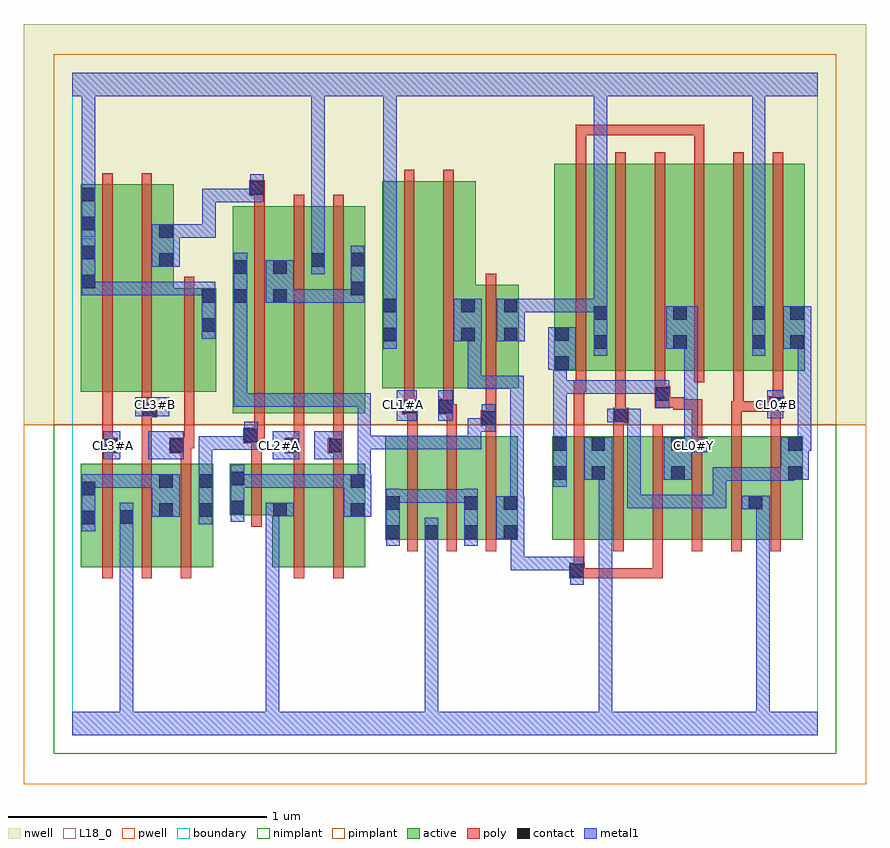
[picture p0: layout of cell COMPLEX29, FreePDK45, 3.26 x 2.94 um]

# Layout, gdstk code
import gdstk
lib = gdstk.Library(unit=1e-6, precision=1e-09)
def R(c, l, rs):  # rectangles x0, y0, x1, y1
    for r in rs: c.add(gdstk.rectangle(r[:2], r[2:], *l))
def A(c, l, x, y, w, h, nx, ny, dx, dy):  # array of equal rectangles
    R(c, l, [(x+i*dx, y+j*dy, x+i*dx+w, y+j*dy+h) for i in range(nx) for j in range(ny)])
active = (1, 0)
pwell = (2, 0)
nwell = (3, 0)
nimplant = (4, 0)
pimplant = (5, 0)
poly = (9, 0)
contact = (10, 0)
metal1 = (11, 0)
L18_0 = (18, 0)
boundary = (235, 0)

complex29 = lib.new_cell('COMPLEX29')
A(complex29, active, 1.358, 0.756, 0.06, 0.4, 3, 1, 0.152, 0)
R(complex29, active, [(0.032,0.65,0.24,1.05), (0.18,0.65,0.24,1.05), (0.18,0.65,0.392,1.05), (0.332,0.65,0.544,1.05), (0.772,0.65,0.952,1.05), (0.952,0.65,1.132,1.05), (1.072,0.65,1.132,1.05), (0.032,0.756,0.092,1.05), (0.332,0.756,0.392,1.05), (0.484,0.756,0.544,1.05), (1.21,0.756,1.27,1.156), (1.21,0.756,1.418,1.156), (1.358,0.756,1.57,1.156), (1.51,0.756,1.722,1.156), (1.854,0.756,1.914,1.156), (1.854,0.756,2.062,1.156), (2.002,0.756,2.062,1.156), (2.002,0.756,2.186,1.156), (2.186,0.756,2.37,1.156), (2.31,0.756,2.37,1.156), (2.31,0.756,2.49,1.156), (2.49,0.756,2.67,1.156), (2.61,0.756,2.822,1.156), (2.61,0.756,2.67,0.93), (2.762,0.756,2.822,1.156), (0.772,0.842,0.832,0.902), (0.608,0.85,0.832,1.05), (0.608,0.85,0.668,1.05), (0.62,1.244,0.68,2.044), (0.62,1.244,0.832,2.044), (0.772,1.244,0.98,2.044), (0.772,1.244,0.832,2.044), (0.92,1.244,0.98,2.044), (0.92,1.244,1.132,2.044), (1.072,1.244,1.132,2.044), (0.032,1.328,0.092,2.128), (0.032,1.328,0.212,2.128), (0.212,1.328,0.392,2.128), (0.332,1.328,0.556,1.728), (0.496,1.328,0.556,1.728), (1.198,1.34,1.378,2.14), (1.198,1.34,1.258,2.044), (1.378,1.34,1.558,2.14), (1.498,1.34,1.724,1.74), (1.498,1.34,1.558,2.044), (1.664,1.34,1.724,1.74), (1.862,1.408,2.07,2.208), (1.862,1.408,1.922,2.208), (2.01,1.408,2.07,2.208), (2.01,1.408,2.194,2.208), (2.194,1.408,2.378,2.208), (2.318,1.408,2.378,2.044), (2.318,1.408,2.498,2.208), (2.498,1.408,2.682,2.208), (2.622,1.408,2.83,2.208), (2.622,1.408,2.682,2.208), (2.77,1.408,2.83,2.044), (0.332,1.572,0.392,2.128)])
R(complex29, pwell, [(-0.188,-0.188,3.068,1.2)])
R(complex29, nwell, [(-0.188,1.2,3.068,2.748)])
R(complex29, nimplant, [(-0.072,-0.072,2.952,1.2)])
R(complex29, pimplant, [(-0.072,1.2,2.952,2.632)])
A(complex29, poly, 0.116, 0.606, 0.04, 0.488, 3, 1, 0.152, 0)
A(complex29, poly, 1.294, 0.712, 0.04, 0.488, 3, 1, 0.152, 0)
A(complex29, poly, 1.938, 0.712, 0.04, 0.488, 6, 1, 0.152, 0)
A(complex29, poly, 0.704, 1.2, 0.04, 0.888, 3, 1, 0.152, 0)
A(complex29, poly, 1.946, 1.364, 0.04, 0.888, 6, 1, 0.152, 0)
R(complex29, poly, [(0.856,0.606,0.896,1.094), (1.008,0.606,1.048,1.094), (1.92,0.606,1.98,0.666), (1.94,0.606,1.98,0.646), (1.94,0.606,1.98,0.646), (1.94,0.606,2.096,0.646), (2.056,0.606,2.096,0.646), (2.056,0.606,2.096,0.646), (2.056,0.606,2.096,0.646), (2.056,0.606,2.282,0.646), (2.242,0.606,2.282,0.646), (2.242,0.606,2.282,0.752), (1.938,0.626,1.978,0.752), (0.692,0.806,0.732,1.094), (0.116,1.054,0.156,1.13), (0.268,1.054,0.308,1.268), (0.42,1.054,0.46,1.13), (0.692,1.054,0.732,1.168), (0.856,1.054,0.896,1.13), (1.008,1.054,1.048,1.13), (0.116,1.09,0.156,1.13), (0.116,1.09,0.156,1.13), (0.116,1.09,0.176,1.15), (0.374,1.09,0.46,1.15), (0.82,1.09,0.896,1.15), (0.988,1.09,1.048,1.15), (0.116,1.11,0.156,1.324), (0.42,1.11,0.46,1.15), (0.42,1.11,0.472,1.15), (0.432,1.11,0.472,1.324), (0.856,1.11,0.896,1.15), (0.856,1.11,0.896,1.15), (0.856,1.11,0.896,1.24), (1.008,1.11,1.048,1.15), (1.008,1.11,1.048,1.15), (1.008,1.11,1.048,1.24), (0.66,1.128,0.732,1.188), (0.692,1.148,0.732,1.188), (0.692,1.148,0.744,1.188), (0.704,1.148,0.744,1.24), (1.294,1.16,1.334,1.28), (1.446,1.16,1.486,1.28), (1.598,1.16,1.638,1.236), (1.938,1.16,1.978,1.368), (2.09,1.16,2.13,1.246), (2.394,1.16,2.434,1.298), (2.546,1.16,2.586,1.29), (2.698,1.16,2.738,1.29), (1.578,1.196,1.638,1.256), (2.09,1.206,2.15,1.266), (1.598,1.216,1.638,1.256), (1.598,1.216,1.638,1.256), (1.598,1.216,1.638,1.336), (2.098,1.226,2.138,1.266), (2.098,1.226,2.138,1.266), (2.098,1.226,2.138,1.404), (0.268,1.228,0.308,1.268), (0.268,1.228,0.308,1.268), (0.268,1.228,0.328,1.288), (1.274,1.24,1.334,1.3), (1.294,1.24,1.334,1.28), (1.294,1.24,1.334,1.28), (1.414,1.24,1.474,1.3), (1.434,1.24,1.474,1.28), (1.434,1.24,1.486,1.28), (0.268,1.248,0.308,1.324), (2.546,1.25,2.594,1.29), (2.554,1.25,2.594,1.29), (2.554,1.25,2.594,1.29), (2.554,1.25,2.738,1.29), (2.554,1.25,2.594,1.404), (2.69,1.25,2.75,1.31), (2.698,1.25,2.738,1.29), (2.698,1.25,2.738,1.29), (2.698,1.25,2.738,1.29), (2.698,1.25,2.738,1.29), (2.322,1.258,2.434,1.298), (2.322,1.258,2.362,1.306), (2.394,1.258,2.434,1.298), (2.394,1.258,2.434,1.298), (2.394,1.258,2.434,1.298), (1.282,1.26,1.322,1.336), (1.434,1.26,1.474,1.336), (2.25,1.266,2.31,1.348), (2.27,1.266,2.362,1.306), (2.706,1.27,2.746,1.404), (0.116,1.284,0.156,2.172), (0.268,1.284,0.308,2.172), (0.432,1.284,0.472,1.772), (1.282,1.296,1.322,2.184), (1.434,1.296,1.474,2.184), (1.598,1.296,1.638,1.784), (2.25,1.308,2.29,1.404), (1.938,1.328,1.986,1.368), (1.946,1.328,1.986,1.368), (1.946,1.328,1.986,1.368), (1.946,1.328,1.986,1.404), (0.704,2.048,0.744,2.124), (0.684,2.084,0.744,2.144), (1.946,2.212,1.986,2.358), (2.402,2.212,2.442,2.358), (1.946,2.318,1.986,2.358), (1.946,2.318,1.986,2.358), (1.946,2.318,1.986,2.358), (1.946,2.318,2.096,2.358), (2.056,2.318,2.096,2.358), (2.056,2.318,2.202,2.358), (2.162,2.318,2.202,2.358), (2.162,2.318,2.202,2.358), (2.162,2.318,2.202,2.358), (2.162,2.318,2.442,2.358), (2.402,2.318,2.442,2.358), (2.402,2.318,2.442,2.358), (2.402,2.318,2.442,2.358)])
A(complex29, contact, 1.362, 0.76, 0.052, 0.052, 3, 1, 0.152, 0)
A(complex29, contact, 0.036, 1.728, 0.052, 0.052, 1, 4, 0, 0.112)
R(complex29, contact, [(1.924,0.61,1.976,0.662), (1.214,0.76,1.266,0.812), (0.036,0.816,0.088,0.868), (0.184,0.818,0.236,0.87), (0.336,0.844,0.388,0.896), (0.488,0.844,0.54,0.896), (1.076,0.844,1.128,0.896), (0.776,0.846,0.828,0.898), (0.612,0.854,0.664,0.906), (1.214,0.872,1.266,0.924), (1.514,0.872,1.566,0.924), (1.666,0.872,1.718,0.924), (2.614,0.874,2.666,0.926), (0.036,0.928,0.088,0.98), (0.336,0.956,0.388,1.008), (0.488,0.956,0.54,1.008), (1.076,0.956,1.128,1.008), (0.612,0.966,0.664,1.018), (1.858,0.988,1.91,1.04), (2.006,0.988,2.058,1.04), (2.314,0.988,2.366,1.04), (2.766,0.988,2.818,1.04), (0.12,1.094,0.172,1.146), (0.378,1.094,0.43,1.146), (0.824,1.094,0.876,1.146), (0.992,1.094,1.044,1.146), (1.858,1.1,1.91,1.152), (2.006,1.1,2.058,1.152), (2.314,1.1,2.366,1.152), (2.766,1.1,2.818,1.152), (0.664,1.132,0.716,1.184), (1.582,1.2,1.634,1.252), (2.094,1.21,2.146,1.262), (0.272,1.232,0.324,1.284), (1.278,1.244,1.33,1.296), (1.418,1.244,1.47,1.296), (2.694,1.254,2.746,1.306), (2.254,1.292,2.306,1.344), (1.866,1.412,1.918,1.464), (2.014,1.494,2.066,1.546), (2.322,1.494,2.374,1.546), (2.626,1.494,2.678,1.546), (2.774,1.494,2.826,1.546), (1.202,1.522,1.254,1.574), (1.502,1.522,1.554,1.574), (1.668,1.522,1.72,1.574), (1.866,1.524,1.918,1.576), (0.5,1.56,0.552,1.612), (2.014,1.606,2.066,1.658), (2.322,1.606,2.374,1.658), (2.626,1.606,2.678,1.658), (2.774,1.606,2.826,1.658), (1.202,1.634,1.254,1.686), (1.502,1.634,1.554,1.686), (1.668,1.634,1.72,1.686), (0.5,1.672,0.552,1.724), (0.624,1.672,0.676,1.724), (0.776,1.672,0.828,1.724), (1.076,1.7,1.128,1.752), (0.624,1.784,0.676,1.836), (0.776,1.784,0.828,1.836), (0.336,1.81,0.388,1.862), (0.924,1.81,0.976,1.862), (1.076,1.812,1.128,1.864), (0.336,1.922,0.388,1.974), (0.688,2.088,0.74,2.14)])
R(complex29, metal1, [(0,0,2.88,0.092), (0.184,0.04,0.236,0.842), (0.748,0.04,0.8,0.092), (0.748,0.04,0.8,0.092), (0.748,0.04,0.8,0.092), (0.748,0.04,0.8,0.092), (0.748,0.04,0.8,0.092), (0.748,0.04,0.8,0.092), (0.748,0.04,0.8,0.898), (1.362,0.04,1.414,0.092), (1.362,0.04,1.414,0.092), (1.362,0.04,1.414,0.092), (1.362,0.04,1.414,0.092), (1.362,0.04,1.414,0.092), (1.362,0.04,1.414,0.092), (1.362,0.04,1.414,0.092), (1.362,0.04,1.414,0.092), (1.362,0.04,1.414,0.784), (2.034,0.04,2.086,0.092), (2.034,0.04,2.086,0.092), (2.034,0.04,2.086,0.092), (2.034,0.04,2.086,0.092), (2.034,0.04,2.086,0.092), (2.034,0.04,2.086,0.092), (2.034,0.04,2.086,1.04), (2.642,0.04,2.694,0.092), (2.642,0.04,2.694,0.092), (2.642,0.04,2.694,0.092), (2.642,0.04,2.694,0.092), (2.642,0.04,2.694,0.092), (2.642,0.04,2.694,0.092), (2.642,0.04,2.694,0.092), (2.642,0.04,2.694,0.092), (2.642,0.04,2.694,0.092), (2.642,0.04,2.694,0.092), (2.642,0.04,2.694,0.092), (2.642,0.04,2.694,0.092), (2.642,0.04,2.694,0.926), (1.924,0.582,1.976,0.69), (1.694,0.638,1.746,0.69), (1.694,0.638,1.746,0.69), (1.694,0.638,1.746,0.69), (1.694,0.638,1.746,0.69), (1.694,0.638,1.746,0.69), (1.694,0.638,1.746,0.69), (1.694,0.638,1.746,0.69), (1.694,0.638,1.746,0.69), (1.694,0.638,1.746,0.69), (1.694,0.638,1.976,0.69), (1.694,0.638,1.746,0.812), (1.214,0.732,1.266,0.952), (1.362,0.732,1.414,0.784), (1.362,0.732,1.414,0.784), (1.362,0.732,1.414,0.784), (1.362,0.732,1.414,0.784), (1.362,0.732,1.414,0.84), (1.514,0.732,1.566,0.952), (1.638,0.76,1.746,0.924), (0.036,0.788,0.088,1.008), (0.184,0.79,0.236,0.842), (0.184,0.79,0.236,0.842), (0.184,0.79,0.236,0.842), (0.184,0.79,0.236,0.842), (0.184,0.79,0.236,0.842), (0.184,0.79,0.236,0.842), (0.184,0.79,0.236,0.842), (0.184,0.79,0.236,0.842), (0.184,0.79,0.236,0.842), (0.184,0.79,0.236,0.842), (0.184,0.79,0.236,0.842), (0.184,0.79,0.236,0.842), (0.184,0.79,0.236,0.898), (0.488,0.816,0.54,1.036), (0.612,0.826,0.664,1.046), (0.308,0.844,0.416,1.008), (1.048,0.844,1.156,1.008), (0.748,0.846,0.8,0.898), (0.748,0.846,0.8,0.898), (0.748,0.846,0.8,0.898), (0.748,0.846,0.8,0.898), (0.748,0.846,0.8,0.898), (0.748,0.846,0.8,0.898), (0.748,0.846,0.856,0.898), (1.692,0.872,1.744,0.924), (1.692,0.872,1.744,0.924), (1.692,0.872,1.744,1.39), (2.586,0.874,2.694,0.926), (2.144,0.878,2.196,0.93), (2.144,0.878,2.306,0.93), (2.144,0.878,2.196,1.262), (2.254,0.878,2.306,0.93), (2.254,0.878,2.306,0.93), (2.254,0.878,2.306,0.93), (2.254,0.878,2.428,0.93), (2.376,0.878,2.428,0.93), (2.376,0.878,2.526,0.93), (2.474,0.878,2.526,0.93), (2.474,0.878,2.526,1.036), (1.214,0.898,1.266,0.95), (1.214,0.898,1.266,0.95), (1.214,0.898,1.376,0.95), (1.324,0.898,1.376,0.95), (1.324,0.898,1.376,0.95), (1.324,0.898,1.376,0.95), (1.324,0.898,1.566,0.95), (0.036,0.956,0.088,1.008), (0.036,0.956,0.088,1.008), (0.036,0.956,0.198,1.008), (0.146,0.956,0.198,1.008), (0.146,0.956,0.198,1.008), (0.146,0.956,0.198,1.008), (0.146,0.956,0.36,1.008), (0.612,0.956,0.664,1.008), (0.612,0.956,0.664,1.008), (0.612,0.956,0.828,1.008), (0.776,0.956,0.828,1.008), (0.776,0.956,0.828,1.008), (0.776,0.956,0.828,1.008), (0.776,0.956,0.99,1.008), (0.938,0.956,0.99,1.008), (0.938,0.956,0.99,1.008), (0.938,0.956,0.99,1.008), (0.938,0.956,1.1,1.008), (1.102,0.956,1.154,1.158), (1.858,0.96,1.91,1.18), (0.488,0.984,0.54,1.156), (2.474,0.984,2.526,1.036), (2.474,0.984,2.626,1.036), (2.574,0.984,2.626,1.036), (2.574,0.984,2.636,1.036), (2.584,0.984,2.636,1.036), (2.584,0.984,2.79,1.036), (2.738,0.984,2.79,1.04), (1.978,0.988,2.086,1.152), (2.034,0.988,2.086,1.04), (2.034,0.988,2.086,1.04), (2.034,0.988,2.086,1.04), (2.034,0.988,2.086,1.04), (2.034,0.988,2.086,1.04), (2.034,0.988,2.086,1.04), (2.286,0.988,2.394,1.152), (2.738,0.988,2.846,1.152), (2.738,0.988,2.79,1.04), (0.12,1.066,0.186,1.174), (0.294,1.066,0.43,1.174), (0.774,1.066,0.876,1.174), (0.934,1.066,1.044,1.174), (2.342,1.094,2.454,1.152), (2.342,1.1,2.394,1.152), (2.364,1.1,2.416,1.546), (2.794,1.1,2.846,1.152), (2.794,1.1,2.854,1.152), (2.802,1.1,2.854,1.546), (2.802,1.1,2.854,1.152), (2.802,1.1,2.854,1.152), (0.488,1.104,0.54,1.156), (0.488,1.104,0.54,1.156), (0.488,1.104,0.54,1.156), (0.488,1.104,0.716,1.156), (0.664,1.104,0.716,1.212), (1.102,1.106,1.154,1.158), (1.102,1.106,1.266,1.158), (1.102,1.106,1.154,1.322), (1.214,1.106,1.266,1.158), (1.214,1.106,1.266,1.158), (1.214,1.106,1.266,1.158), (1.214,1.106,1.41,1.158), (1.358,1.106,1.41,1.158), (1.358,1.106,1.41,1.158), (1.358,1.106,1.41,1.158), (1.358,1.106,1.58,1.158), (1.528,1.106,1.58,1.224), (1.858,1.128,1.91,1.18), (1.858,1.128,1.91,1.18), (1.858,1.128,1.91,1.372), (1.528,1.172,1.634,1.224), (1.582,1.172,1.634,1.28), (2.066,1.21,2.176,1.262), (2.124,1.21,2.176,1.262), (2.124,1.21,2.196,1.262), (2.144,1.21,2.196,1.262), (2.144,1.21,2.196,1.262), (1.254,1.216,1.33,1.334), (1.414,1.216,1.47,1.334), (2.684,1.224,2.746,1.334), (0.244,1.232,0.374,1.306), (2.254,1.264,2.306,1.372), (0.624,1.27,0.676,1.322), (0.624,1.27,0.676,1.322), (0.624,1.27,0.676,1.322), (0.624,1.27,0.826,1.322), (0.624,1.27,0.676,1.696), (0.774,1.27,0.826,1.322), (0.774,1.27,0.826,1.322), (0.774,1.27,0.826,1.322), (0.774,1.27,0.99,1.322), (0.938,1.27,0.99,1.322), (0.938,1.27,1.144,1.322), (1.092,1.27,1.144,1.322), (1.092,1.27,1.154,1.322), (1.102,1.27,1.154,1.322), (1.858,1.32,1.91,1.372), (1.858,1.32,1.91,1.372), (1.858,1.32,1.91,1.372), (1.858,1.32,2.056,1.372), (1.858,1.32,1.91,1.464), (2.004,1.32,2.056,1.372), (2.004,1.32,2.176,1.372), (2.124,1.32,2.176,1.372), (2.124,1.32,2.176,1.372), (2.124,1.32,2.176,1.372), (2.124,1.32,2.306,1.372), (1.528,1.338,1.58,1.39), (1.528,1.338,1.58,1.39), (1.528,1.338,1.58,1.39), (1.528,1.338,1.744,1.39), (1.528,1.338,1.58,1.574), (1.692,1.338,1.744,1.39), (1.838,1.412,1.946,1.576), (2.014,1.466,2.066,1.686), (2.626,1.466,2.678,1.686), (1.202,1.494,1.254,1.714), (2.294,1.494,2.416,1.658), (2.364,1.494,2.416,1.546), (2.364,1.494,2.416,1.546), (2.746,1.494,2.854,1.658), (1.474,1.522,1.582,1.686), (1.64,1.522,1.748,1.686), (0.5,1.532,0.552,1.752), (1.696,1.634,1.748,1.686), (1.696,1.634,1.748,1.686), (1.696,1.634,1.748,1.686), (1.696,1.634,1.748,1.686), (1.696,1.634,1.748,1.686), (1.696,1.634,1.748,1.686), (1.696,1.634,1.748,1.686), (1.696,1.634,1.748,1.686), (1.696,1.634,1.92,1.686), (1.868,1.634,1.92,1.686), (1.868,1.634,1.92,1.686), (1.868,1.634,1.92,1.686), (1.868,1.634,2.066,1.686), (2.014,1.634,2.066,1.686), (2.014,1.634,2.066,1.686), (2.014,1.634,2.066,2.52), (2.626,1.634,2.678,2.52), (0.624,1.644,0.676,1.864), (1.202,1.662,1.254,1.714), (1.202,1.662,1.254,1.714), (1.202,1.662,1.254,1.714), (1.202,1.662,1.254,1.714), (1.202,1.662,1.254,1.714), (1.202,1.662,1.254,1.714), (1.202,1.662,1.254,2.52), (0.748,1.672,0.856,1.836), (0.804,1.672,0.856,1.724), (0.804,1.672,0.856,1.724), (0.804,1.672,0.99,1.724), (0.938,1.672,0.99,1.724), (0.938,1.672,0.99,1.724), (0.938,1.672,0.99,1.724), (0.938,1.672,1.128,1.724), (1.076,1.672,1.128,1.892), (0.036,1.7,0.088,1.752), (0.036,1.7,0.088,1.752), (0.036,1.7,0.088,1.92), (0.036,1.7,0.198,1.752), (0.146,1.7,0.198,1.752), (0.146,1.7,0.198,1.752), (0.146,1.7,0.198,1.752), (0.146,1.7,0.308,1.752), (0.256,1.7,0.308,1.752), (0.256,1.7,0.308,1.752), (0.256,1.7,0.308,1.752), (0.256,1.7,0.552,1.752), (0.924,1.782,0.976,1.89), (0.308,1.81,0.416,1.974), (0.924,1.838,0.976,2.52), (0.364,1.922,0.416,1.974), (0.364,1.922,0.416,1.974), (0.364,1.922,0.554,1.974), (0.502,1.922,0.554,1.974), (0.502,1.922,0.554,1.974), (0.502,1.922,0.554,1.974), (0.502,1.922,0.554,2.112), (0.036,1.924,0.088,2.144), (0.502,2.06,0.554,2.112), (0.502,2.06,0.74,2.112), (0.688,2.06,0.74,2.168), (0.036,2.092,0.088,2.144), (0.036,2.092,0.088,2.144), (0.036,2.092,0.088,2.52), (0,2.468,2.88,2.56), (0.036,2.468,0.088,2.52), (0.036,2.468,0.088,2.52), (0.036,2.468,0.088,2.52), (0.036,2.468,0.088,2.52), (0.036,2.468,0.088,2.52), (0.036,2.468,0.088,2.52), (0.924,2.468,0.976,2.52), (0.924,2.468,0.976,2.52), (0.924,2.468,0.976,2.52), (0.924,2.468,0.976,2.52), (0.924,2.468,0.976,2.52), (0.924,2.468,0.976,2.52), (0.924,2.468,0.976,2.52), (0.924,2.468,0.976,2.52), (1.202,2.468,1.254,2.52), (1.202,2.468,1.254,2.52), (2.014,2.468,2.066,2.52), (2.014,2.468,2.066,2.52), (2.014,2.468,2.066,2.52), (2.014,2.468,2.066,2.52), (2.014,2.468,2.066,2.52), (2.014,2.468,2.066,2.52), (2.626,2.468,2.678,2.52), (2.626,2.468,2.678,2.52), (2.626,2.468,2.678,2.52), (2.626,2.468,2.678,2.52), (2.626,2.468,2.678,2.52), (2.626,2.468,2.678,2.52), (2.626,2.468,2.678,2.52), (2.626,2.468,2.678,2.52)])
R(complex29, L18_0, [(0,0,2.88,0.092), (0.184,0.04,0.236,0.842), (0.748,0.04,0.8,0.092), (0.748,0.04,0.8,0.092), (0.748,0.04,0.8,0.092), (0.748,0.04,0.8,0.092), (0.748,0.04,0.8,0.092), (0.748,0.04,0.8,0.092), (0.748,0.04,0.8,0.898), (1.362,0.04,1.414,0.092), (1.362,0.04,1.414,0.092), (1.362,0.04,1.414,0.092), (1.362,0.04,1.414,0.092), (1.362,0.04,1.414,0.092), (1.362,0.04,1.414,0.092), (1.362,0.04,1.414,0.092), (1.362,0.04,1.414,0.092), (1.362,0.04,1.414,0.784), (2.034,0.04,2.086,0.092), (2.034,0.04,2.086,0.092), (2.034,0.04,2.086,0.092), (2.034,0.04,2.086,0.092), (2.034,0.04,2.086,0.092), (2.034,0.04,2.086,0.092), (2.034,0.04,2.086,1.04), (2.642,0.04,2.694,0.092), (2.642,0.04,2.694,0.092), (2.642,0.04,2.694,0.092), (2.642,0.04,2.694,0.092), (2.642,0.04,2.694,0.092), (2.642,0.04,2.694,0.092), (2.642,0.04,2.694,0.092), (2.642,0.04,2.694,0.092), (2.642,0.04,2.694,0.092), (2.642,0.04,2.694,0.092), (2.642,0.04,2.694,0.092), (2.642,0.04,2.694,0.092), (2.642,0.04,2.694,0.926), (1.362,0.732,1.414,0.784), (1.362,0.732,1.414,0.784), (1.362,0.732,1.414,0.784), (1.362,0.732,1.414,0.784), (1.362,0.732,1.414,0.84), (0.184,0.79,0.236,0.842), (0.184,0.79,0.236,0.842), (0.184,0.79,0.236,0.842), (0.184,0.79,0.236,0.842), (0.184,0.79,0.236,0.842), (0.184,0.79,0.236,0.842), (0.184,0.79,0.236,0.842), (0.184,0.79,0.236,0.842), (0.184,0.79,0.236,0.842), (0.184,0.79,0.236,0.842), (0.184,0.79,0.236,0.842), (0.184,0.79,0.236,0.842), (0.184,0.79,0.236,0.898), (0.748,0.846,0.8,0.898), (0.748,0.846,0.8,0.898), (0.748,0.846,0.8,0.898), (0.748,0.846,0.8,0.898), (0.748,0.846,0.8,0.898), (0.748,0.846,0.8,0.898), (0.748,0.846,0.856,0.898), (2.586,0.874,2.694,0.926), (1.978,0.988,2.086,1.152), (2.034,0.988,2.086,1.04), (2.034,0.988,2.086,1.04), (2.034,0.988,2.086,1.04), (2.034,0.988,2.086,1.04), (2.034,0.988,2.086,1.04), (2.034,0.988,2.086,1.04), (2.286,0.988,2.394,1.152), (0.12,1.066,0.186,1.174), (0.294,1.066,0.43,1.174), (0.774,1.066,0.876,1.174), (0.934,1.066,1.044,1.174), (0.134,1.094,0.186,1.146), (0.294,1.094,0.346,1.146), (0.774,1.094,0.826,1.146), (0.934,1.094,0.986,1.146), (2.342,1.094,2.454,1.152), (2.374,1.094,2.426,1.146), (2.342,1.1,2.394,1.152), (2.364,1.1,2.416,1.546), (1.254,1.216,1.33,1.334), (1.414,1.216,1.47,1.334), (2.684,1.224,2.746,1.334), (0.244,1.232,0.374,1.306), (0.294,1.254,0.346,1.306), (1.254,1.254,1.306,1.306), (1.414,1.254,1.466,1.306), (2.694,1.254,2.746,1.306), (2.014,1.466,2.066,1.686), (2.626,1.466,2.678,1.686), (1.202,1.494,1.254,1.714), (2.294,1.494,2.416,1.658), (2.364,1.494,2.416,1.546), (2.364,1.494,2.416,1.546), (1.64,1.522,1.748,1.686), (0.5,1.532,0.552,1.752), (1.696,1.634,1.748,1.686), (1.696,1.634,1.748,1.686), (1.696,1.634,1.748,1.686), (1.696,1.634,1.748,1.686), (1.696,1.634,1.748,1.686), (1.696,1.634,1.748,1.686), (1.696,1.634,1.748,1.686), (1.696,1.634,1.748,1.686), (1.696,1.634,1.92,1.686), (1.868,1.634,1.92,1.686), (1.868,1.634,1.92,1.686), (1.868,1.634,1.92,1.686), (1.868,1.634,2.066,1.686), (2.014,1.634,2.066,1.686), (2.014,1.634,2.066,1.686), (2.014,1.634,2.066,2.52), (2.626,1.634,2.678,2.52), (1.202,1.662,1.254,1.714), (1.202,1.662,1.254,1.714), (1.202,1.662,1.254,1.714), (1.202,1.662,1.254,1.714), (1.202,1.662,1.254,1.714), (1.202,1.662,1.254,1.714), (1.202,1.662,1.254,2.52), (0.036,1.7,0.088,1.92), (0.036,1.7,0.088,1.752), (0.036,1.7,0.088,1.752), (0.036,1.7,0.198,1.752), (0.146,1.7,0.198,1.752), (0.146,1.7,0.198,1.752), (0.146,1.7,0.198,1.752), (0.146,1.7,0.308,1.752), (0.256,1.7,0.308,1.752), (0.256,1.7,0.308,1.752), (0.256,1.7,0.308,1.752), (0.256,1.7,0.552,1.752), (0.924,1.782,0.976,1.89), (0.924,1.838,0.976,2.52), (0.036,1.924,0.088,2.144), (0.036,2.092,0.088,2.144), (0.036,2.092,0.088,2.144), (0.036,2.092,0.088,2.52), (0,2.468,2.88,2.56), (0.036,2.468,0.088,2.52), (0.036,2.468,0.088,2.52), (0.036,2.468,0.088,2.52), (0.036,2.468,0.088,2.52), (0.036,2.468,0.088,2.52), (0.036,2.468,0.088,2.52), (0.924,2.468,0.976,2.52), (0.924,2.468,0.976,2.52), (0.924,2.468,0.976,2.52), (0.924,2.468,0.976,2.52), (0.924,2.468,0.976,2.52), (0.924,2.468,0.976,2.52), (0.924,2.468,0.976,2.52), (0.924,2.468,0.976,2.52), (1.202,2.468,1.254,2.52), (1.202,2.468,1.254,2.52), (2.014,2.468,2.066,2.52), (2.014,2.468,2.066,2.52), (2.014,2.468,2.066,2.52), (2.014,2.468,2.066,2.52), (2.014,2.468,2.066,2.52), (2.014,2.468,2.066,2.52), (2.626,2.468,2.678,2.52), (2.626,2.468,2.678,2.52), (2.626,2.468,2.678,2.52), (2.626,2.468,2.678,2.52), (2.626,2.468,2.678,2.52), (2.626,2.468,2.678,2.52), (2.626,2.468,2.678,2.52), (2.626,2.468,2.678,2.52)])
R(complex29, boundary, [(0,0,2.88,2.56)])
complex29.add(gdstk.Label('CL0#B', (2.72,1.28), layer=11, texttype=0))
complex29.add(gdstk.Label('CL0#Y', (2.4,1.12), layer=11, texttype=0))
complex29.add(gdstk.Label('CL1#A', (1.28,1.28), layer=11, texttype=0))
complex29.add(gdstk.Label('CL1#B', (1.44,1.28), layer=11, texttype=0))
complex29.add(gdstk.Label('CL2#A', (0.8,1.12), layer=11, texttype=0))
complex29.add(gdstk.Label('CL2#B', (0.96,1.12), layer=11, texttype=0))
complex29.add(gdstk.Label('CL3#A', (0.16,1.12), layer=11, texttype=0))
complex29.add(gdstk.Label('CL3#B', (0.32,1.28), layer=11, texttype=0))
complex29.add(gdstk.Label('CL3#C', (0.32,1.12), layer=11, texttype=0))

lib.write_gds('COMPLEX29.gds')
